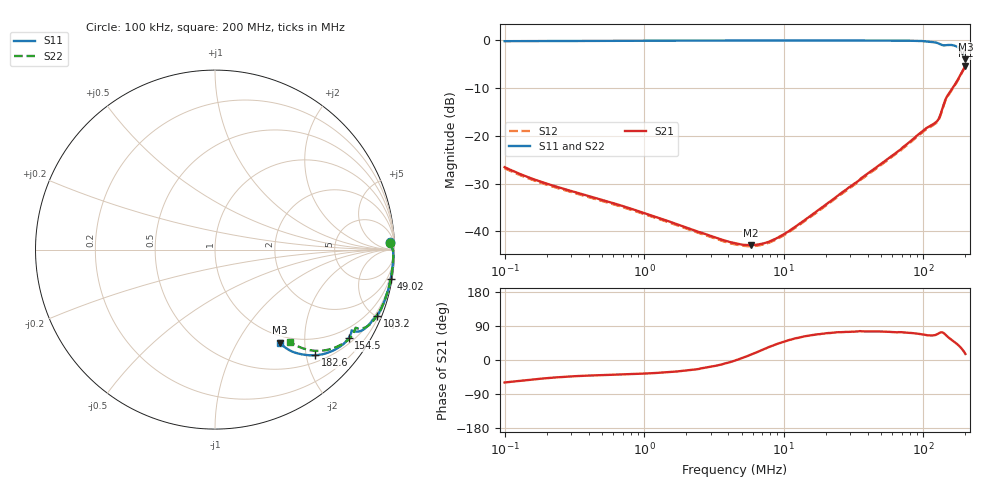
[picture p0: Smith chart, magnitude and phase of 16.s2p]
#  HZ  S  RI  R  50.00
! Rohde & Schwarz Vector Network Analyzer
! Rohde-Schwarz,ZNLE6-2Port,1323001256200024,1.71.1.10-23.02.1.238
! Created: UTC 4/8/2025, 4:01:54 AM
! freq[Hz]  re:S11  im:S11  re:S21  im:S21  re:S12  im:S12  re:S22  im:S22
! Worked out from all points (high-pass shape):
!   1001 points, 100 kHz to 200 MHz, reference 50 ohm
!   highest |S21| = -5.31 dB at 200 MHz (marker M1); lowest = -42.9 dB at 5.791 MHz (marker M2)
!   |S21| within 3 dB of the highest: 176.2 MHz to end of sweep
!   lowest |S11| = -4.0 dB at 200 MHz (marker M3), VSWR 4.45, Z = 44.3 - j76.7 ohm
!   |S11| at or under -10 dB: nowhere
!   |S22| runs from -3.6 to 0.0 dB; largest |S21 - S12| = 0.0069
!   S11 on the Smith chart (normalised r, x): 100 kHz: 21, +37; 49.02 MHz: 1, -12; 103.2 MHz: 0.35, -5.08; 154.5 MHz: 0.66, -3.20; 182.6 MHz: 0.63, -2.18; 200 MHz: 0.89, -1.53
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100000  0.9763 0.04  0.024 -0.0404  0.0233 -0.0394  0.977 0.039
172851.9  0.9784 0.0254  0.0217 -0.026  0.0212 -0.0254  0.9791 0.0249
355854.1  0.9818 0.0155  0.0183 -0.0165  0.0179 -0.0161  0.9824 0.0152
1266322  0.9885 0.00452  0.0115 -0.00771  0.0112 -0.00754  0.9889 0.00468
4472136  0.9922 -0.0111  0.0075 -0.000192  0.0073 -0.000275  0.9931 -0.00893
5790953  0.9929 -0.0161  0.00695 0.00173  0.00682 0.00155  0.9933 -0.0139
7164384  0.993 -0.021  0.00659 0.00353  0.00649 0.00332  0.9935 -0.019
8796434  0.9935 -0.0269  0.0063 0.00556  0.00633 0.00526  0.9937 -0.0246
1.591428e7  0.9928 -0.0514  0.00616 0.0136  0.00614 0.0131  0.9933 -0.048
2.945577e7  0.9892 -0.0974  0.00785 0.0279  0.0077 0.0271  0.99 -0.0917
4.901618e7  0.979 -0.1649  0.0128 0.0485  0.0134 0.0469  0.981 -0.1546
5.663162e7  0.9735 -0.1917  0.0158 0.0564  0.0164 0.0545  0.9761 -0.1796
7.852416e7  0.9502 -0.2705  0.0265 0.0805  0.0274 0.0778  0.9556 -0.2536
1.032382e8  0.9024 -0.3677  0.0472 0.1084  0.0479 0.1051  0.9167 -0.3436
1.267559e8  0.8158 -0.4512  0.0524 0.1351  0.0529 0.1316  0.8395 -0.4324
1.378096e8  0.7639 -0.451  0.0604 0.1905  0.0609 0.1855  0.7879 -0.4369
1.453405e8  0.7602 -0.4573  0.1024 0.2246  0.1011 0.2189  0.7813 -0.4412
1.544525e8  0.7451 -0.4927  0.1549 0.238  0.1528 0.2327  0.7679 -0.4716
1.679215e8  0.6802 -0.5508  0.2333 0.2508  0.2307 0.2445  0.7076 -0.5271
1.82565e8  0.5597 -0.5885  0.3445 0.2442  0.3399 0.2392  0.5989 -0.5629
1.896369e8  0.4832 -0.5833  0.4117 0.2226  0.4061 0.2188  0.5291 -0.5603
2e8  0.3617 -0.5193  0.5216 0.1507  0.5156 0.1502  0.4181 -0.5149
